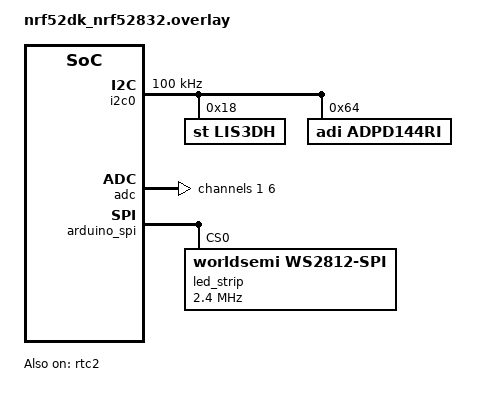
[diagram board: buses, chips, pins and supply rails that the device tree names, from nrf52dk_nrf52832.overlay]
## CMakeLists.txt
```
cmake_minimum_required(VERSION 3.20.0)
find_package(Zephyr REQUIRED HINTS $ENV{ZEPHYR_BASE})
project(Vitals_monitoring_system)

# Add src/ as an include directory so headers like ble.h are found
target_include_directories(app PRIVATE src)

# Add all your C source files
target_sources(app PRIVATE
    src/main.c
    src/ble.c
    src/adpd144ri.c
    src/rtc.c
    src/temp.c
    src/lis3dh.c
    src/ws2812.c
    src/button.c
    src/gpio.c
)
```

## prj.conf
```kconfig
# --- I2C ---
CONFIG_I2C=y
CONFIG_I2C_NRFX=y

# --- UART & Logging ---
CONFIG_SERIAL=y
CONFIG_UART_CONSOLE=y
CONFIG_PRINTK=y
CONFIG_LOG=y
CONFIG_LOG_MODE_IMMEDIATE=y

# --- BLE Peripheral ---
CONFIG_BT=y
CONFIG_BT_PERIPHERAL=y
CONFIG_BT_DEVICE_NAME="Vitals"
CONFIG_BT_DEVICE_APPEARANCE=833
CONFIG_BT_GATT_DYNAMIC_DB=y   # Required for dynamic GATT table

CONFIG_BT_CONN_PARAM_UPDATE_TIMEOUT=5000
CONFIG_BT_MAX_CONN=1

# Optimized buffer configuration for notifications
# Lower than defaults to save RAM but remain sufficient for throughput
CONFIG_BT_CONN_TX_MAX=12
CONFIG_BT_L2CAP_TX_MTU=247
CONFIG_BT_BUF_ACL_TX_SIZE=251
CONFIG_BT_BUF_ACL_TX_COUNT=10
CONFIG_BT_BUF_ACL_RX_SIZE=251
CONFIG_BT_BUF_ACL_RX_COUNT=6

CONFIG_BT_MAX_PAIRED=1

# Optional: Remove unnecessary GATT Client role
CONFIG_BT_GATT_CLIENT=n
CONFIG_BT_SMP=n

# --- Threads / Memory ---
CONFIG_MAIN_STACK_SIZE=2048
CONFIG_SYSTEM_WORKQUEUE_STACK_SIZE=2048
CONFIG_HEAP_MEM_POOL_SIZE=4096

# --- Time / POSIX ---
CONFIG_NEWLIB_LIBC=y
CONFIG_POSIX_API=y
CONFIG_CBPRINTF_FP_SUPPORT=y
CONFIG_NEWLIB_LIBC_FLOAT_PRINTF=y

# --- ADC Support ---
CONFIG_ADC=y
CONFIG_ADC_NRFX_SAADC=y

# --- Optional debugging helpers ---
CONFIG_THREAD_NAME=y
CONFIG_THREAD_MONITOR=y

# --- GPIO & Clock ---
CONFIG_GPIO=y
CONFIG_CLOCK_CONTROL_NRF_K32SRC_XTAL=y

# --- RTC / Counter ---
CONFIG_NRFX_RTC2=y
CONFIG_COUNTER=y
#CONFIG_COUNTER_RTC=y
CONFIG_RTC=y
CONFIG_RTC_ALARM=y


CONFIG_ADC=y

CONFIG_GPIO=y

CONFIG_LOG=y
CONFIG_PRINTK=y
CONFIG_LED_STRIP=y
CONFIG_LED_STRIP_LOG_LEVEL_DBG=y
CONFIG_ADC_NRFX_SAADC=y
CONFIG_FPU=y
CONFIG_CBPRINTF_FP_SUPPORT=y
CONFIG_NEWLIB_LIBC=y
CONFIG_MAIN_STACK_SIZE=2048

CONFIG_LOG_MODE_DEFERRED=y
CONFIG_SOC_NRF52832_ALLOW_SPIM_DESPITE_PAN_58=y




#CONFIG_LOG_DEFAULT_LEVEL=4   # INFO
```

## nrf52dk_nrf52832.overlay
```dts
/* --- I2C0 (TWIM0) --- */
&i2c0 {
    status = "okay";
    clock-frequency = <I2C_BITRATE_STANDARD>;
    pinctrl-0 = <&i2c0_default>;
    pinctrl-1 = <&i2c0_sleep>;
    pinctrl-names = "default", "sleep";

    lis3dh@18 {
        compatible = "st,lis3dh";
        reg = <0x18>;
        label = "LIS3DH";
        status = "okay";
    };

    adpd144ri@64 {
        compatible = "adi,adpd144ri";
        reg = <0x64>;
        label = "ADPD144RI";
        status = "okay";
    };
};



/* --- RTC2 --- */
&rtc2 {
    status = "okay";
};

/* --- SAADC --- */
&adc {
    status = "okay";

    /* Channel 1: Temperature on AIN2 */
    channel@1 {
        reg = <1 0 1>;
        zephyr,gain = "ADC_GAIN_1_4";
        zephyr,reference = "ADC_REF_VDD_1_4";
        zephyr,acquisition-time = <ADC_ACQ_TIME_DEFAULT>;
        zephyr,input-positive = <2>;
    };

    /* Channel 6: Battery on AIN6 */
    channel@6 {
        reg = <6 0 1>;
        zephyr,gain = "ADC_GAIN_1_6";
        zephyr,reference = "ADC_REF_INTERNAL";
        zephyr,acquisition-time = <ADC_ACQ_TIME_DEFAULT>;
        zephyr,input-positive = <6>;
    };
};


#include <zephyr/dt-bindings/led/led.h>

//#include "../nrf52-bindings.h"
&adc {
    status = "okay";
};

&arduino_spi { /* MOSI on D11 / P0.23 */
	compatible = "nordic,nrf-spim";
	led_strip: ws2812@0 {
		compatible = "worldsemi,ws2812-spi";

		/* SPI */
		reg = <0>; /* ignored, but necessary for SPI bindings */
		spi-max-frequency = <2400000>;

		/* WS2812 */
		chain-length = <1>; /* arbitrary; change at will */
		color-mapping = <LED_COLOR_ID_GREEN
				 LED_COLOR_ID_RED
				 LED_COLOR_ID_BLUE>;  
     		spi-one-frame = <0x60>;
		spi-zero-frame = <0x40>;
	};
};

/ {
    aliases {
        led0 = &led0;
        sw0 = &button0;
        led-strip = &led_strip;
    };
};
```

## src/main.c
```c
#include <zephyr/kernel.h>
#include <zephyr/device.h>
#include <zephyr/sys/printk.h>
#include <zephyr/bluetooth/bluetooth.h>
#include <string.h>
#include <stdio.h>
#include <zephyr/types.h>
#include <time.h>
#include "adpd144ri.h"
#include "rtc.h"
#include "ble.h"
#include "temp.h"
#include "lis3dh.h"
#include "ws2812.h"
#include "button.h"
#include "gpio.h"


/* Thread objects */
static struct k_thread sensor_tid_data;
static struct k_thread printer_tid_data;
static struct k_thread init_tid_data;

/* Thread stacks */
#define SENSOR_STACK_SIZE 1280
#define PRINTER_STACK_SIZE 2560
#define INIT_STACK_SIZE 512

K_THREAD_STACK_DEFINE(sensor_stack, SENSOR_STACK_SIZE);
K_THREAD_STACK_DEFINE(printer_stack, PRINTER_STACK_SIZE);
K_THREAD_STACK_DEFINE(init_stack, INIT_STACK_SIZE);

/* Thread priorities */
#define SENSOR_PRIO 10
#define PRINTER_PRIO 9
#define INIT_PRIO 5


#define I2C_NODE DT_NODELABEL(i2c0)

#define GPIO_PIN 16

#define BATCH_SIZE 6
#define MSGQ_SIZE 20

#define MAX_SAMPLES 1998

#define I2C_MUTEX_TIMEOUT  K_MSEC(15)  // Max wait time for I2C access

static uint16_t a_cnt=0, p_cnt=0;

K_MUTEX_DEFINE(i2c_bus_mutex);

K_MSGQ_DEFINE(ppg_msgq, sizeof(PPGSample), MSGQ_SIZE * 2, 4);
K_MSGQ_DEFINE(temp_msgq, sizeof(TempSample), MSGQ_SIZE, 4);
K_MSGQ_DEFINE(accel_msgq, sizeof(lis3dh_data_t), MSGQ_SIZE * 2, 4);

extern struct k_mutex notify_buf_mutex;
extern volatile bool notify_enabled_ppg;
extern volatile bool notify_enabled_temp;
extern volatile bool notify_enabled_accel;

extern struct bt_conn *current_conn;
extern const struct bt_gatt_service_static sensor_svc;
extern const struct bt_gatt_attr *ppg_char_attr;
extern const struct bt_gatt_attr *temp_char_attr;
extern const struct bt_gatt_attr *accel_char_attr;

static lis3dh_sensor_t lis3dh_dev;

extern struct k_work ble_disconnect_work;
extern void ble_disconnect_work_handler(struct k_work *work);

// Custom timegm() replacement (UTC time -> timestamp)
time_t custom_timegm(struct tm *tm) {
    static const int days_in_month[] = {
        31, 28, 31, 30, 31, 30,
        31, 31, 30, 31, 30, 31
    };

    int year = tm->tm_year + 1900;
    int month = tm->tm_mon;  // 0-11
    int day = tm->tm_mday;

    // Count leap years
    int y = year - (month < 2);
    int leap_days = y / 4 - y / 100 + y / 400;

    // Days since epoch
    int days = (year - 1970) * 365 + leap_days;
    for (int i = 0; i < month; i++) {
        days += days_in_month[i];
    }

    // Add one more day for leap year if after Feb
    if (month > 1 && ((year % 4 == 0 && year % 100 != 0) || (year % 400 == 0))) {
        days += 1;
    }

    days += day - 1;

    // Return seconds since epoch
    return days * 86400 + tm->tm_hour * 3600 + tm->tm_min * 60 + tm->tm_sec;
}

uint64_t parse_timestamp_ms(const char *timestamp_str) {
    struct tm t = {0};
    int ms = 0;

    // Parse: "dd/mm/yyyy hh:mm:ss.mmm"
    sscanf(timestamp_str, "%d/%d/%d %d:%d:%d.%d",
           &t.tm_mday, &t.tm_mon, &t.tm_year,
           &t.tm_hour, &t.tm_min, &t.tm_sec, &ms);

    t.tm_mon -= 1;
    t.tm_year -= 1900;

    time_t seconds = custom_timegm(&t);
    return ((uint64_t)seconds * 1000) + ms;
}


void sensor_thread(void *p1, void *p2, void *p3)
{
    const struct device *i2c_dev = DEVICE_DT_GET(I2C_NODE);

    printk("[THREAD] sensor_thread started\n");

    if (!device_is_ready(i2c_dev)) {
        printk("[I2C] device %s not ready!\n", i2c_dev->name);
        return;
    }

    /* sensor inits (same as before) */
    if (k_mutex_lock(&i2c_bus_mutex, I2C_MUTEX_TIMEOUT) == 0) {
        if (!lis3dh_init(&lis3dh_dev, i2c_dev, 0x18)) {
            printk("[LIS3DH] Accelerometer sensor init failed\n");
        }
        k_mutex_unlock(&i2c_bus_mutex);
    }
    if (k_mutex_lock(&i2c_bus_mutex, I2C_MUTEX_TIMEOUT) == 0) {
        if (adpd144ri_configure_spo2_hr(i2c_dev) != 0) {
            printk("[PPG] PPG Sensor init failed\n");
        }
        k_mutex_unlock(&i2c_bus_mutex);
    }
    if (k_mutex_lock(&i2c_bus_mutex, I2C_MUTEX_TIMEOUT) == 0) {
        if (!lis3dh_init(&lis3dh_dev, i2c_dev, 0x18)) {
            printk("[LIS3DH] Accelerometer re-init failed\n");
        }
        k_mutex_unlock(&i2c_bus_mutex);
    }
    if (temp_sensor_init() != 0) {
        printk("[TEMP] Temperature sensor initialization failed\n");
    }
  //  rtc2_init();

    PPGSample ppg_sample;
    lis3dh_data_t accel_sample;
    TempSample temp_sample;

    static uint32_t ppg_drops = 0, accel_drops = 0;
    uint64_t last_ppg = 0, last_accel = 0;

    /* Wait here until notify is enabled */
    while (!ack_notify_enabled) {
        k_msleep(50);   // Sleep a bit to avoid busy loop
    }

    /* Once enabled, send the ack */
    send_ack_to_mobile("2#0");

    while (1) {
        /* Wait until any notify is enabled (non-exiting) */
        while (!(notify_enabled_ppg || notify_enabled_accel || notify_enabled_temp)) {
            k_msleep(100);
        }
       

        /* Active collection loop: loop until TEMP triggers end-of-cycle */
        while (notify_enabled_ppg || notify_enabled_accel || notify_enabled_temp) {
            uint64_t now = k_uptime_get();

            /* PPG pacing: one read every ~10 ms (adjust if needed) */
            if (notify_enabled_ppg && (p_cnt < MAX_SAMPLES) && (now - last_ppg >= 10)) {
                last_ppg = now;
                if (k_mutex_lock(&i2c_bus_mutex, K_MSEC(3)) == 0) {
                    if (adpd144ri_read_2ch(i2c_dev, ppg_sample.channels) == 0) {
                        ppg_sample.timestamp_ms = get_timestamp_ms();
                        if (k_msgq_put(&ppg_msgq, &ppg_sample, K_NO_WAIT) != 0) {
                            ppg_drops++;
                            if ((ppg_drops & 0x3F) == 0) {
                                printk("[SENSOR] PPG drops=%u\n", ppg_drops);
                            }
                        } else {
                            p_cnt++;
                        }
                    }
                    k_mutex_unlock(&i2c_bus_mutex);
                }
            }

            k_msleep(7);

            /* ACCEL pacing: one read every ~20 ms (adjust if needed) */
            if (notify_enabled_accel && (a_cnt < MAX_SAMPLES) && (now - last_accel >= 10)) {
                last_accel = now;
                if (k_mutex_lock(&i2c_bus_mutex, K_MSEC(3)) == 0) {
                    if (lis3dh_read_data(&lis3dh_dev, accel_sample.data)) {
                        accel_sample.timestamp_ms = get_timestamp_ms();
                        if (k_msgq_put(&accel_msgq, &accel_sample, K_NO_WAIT) != 0) {
                            accel_drops++;
                            if ((accel_drops & 0x3F) == 0) {
                                printk("[SENSOR] ACCEL drops=%u\n", accel_drops);
                            }
                        } else {
                            a_cnt++;
                        }
                    }
                    k_mutex_unlock(&i2c_bus_mutex);
                }
            }

            k_msleep(7);

            /* TEMP end-of-cycle trigger (unchanged) */
            if (notify_enabled_temp && p_cnt >= MAX_SAMPLES && a_cnt >= MAX_SAMPLES) {
                k_msleep(10);
                if (temp_sensor_read(&temp_sample) == 0) {
                    temp_sample.timestamp_ms = get_timestamp_ms();
                    if (k_msgq_put(&temp_msgq, &temp_sample, K_MSEC(3)) != 0) {
                        printk("[SENSOR] TEMP msgq put failed\n");
                    }
                } else {
                    printk("[SENSOR] TEMP read failed\n");
                }
                printk("[SENSOR] Collected FULL batch: PPG=%u, ACCEL=%u\n", p_cnt, a_cnt);
                break; /* let formatter handle sending/reset */
            }

            /* light backoff so other threads (formatter, BLE) run */
            k_msleep(40);
        } /* inner active loop */
    } /* outer forever */
}

void printer_thread(void *p1, void *p2, void *p3)
{
    printk("[THREAD] printer_thread started\n");

    PPGSample ppg_batch[BATCH_SIZE];
    lis3dh_data_t accel_batch[BATCH_SIZE];
    TempSample temp_sample;
    char ts[64];

    int total_ppg_sent = 0;
    int total_accel_sent = 0;
    bool temp_sent = false;

    bool p_flag=false;
    bool a_flag=false;

    while (1) {
        /* wait until any notify enabled */
        while (!(notify_enabled_ppg || notify_enabled_accel || notify_enabled_temp)) {
            k_msleep(50);
        }

        int ppg_count = 0, accel_count = 0, temp_count = 0;

        /* collect exactly BATCH_SIZE items for each stream if available */
        if (notify_enabled_ppg && k_msgq_num_used_get(&ppg_msgq) >= BATCH_SIZE) {
            for (int i = 0; i < BATCH_SIZE; i++) {
                if (k_msgq_get(&ppg_msgq, &ppg_batch[i], K_NO_WAIT) != 0) {
                    ppg_count = i;
                    break;
                }
            }
            if (ppg_count == 0) ppg_count = BATCH_SIZE;
            total_ppg_sent += ppg_count;
        }

        if (notify_enabled_accel && k_msgq_num_used_get(&accel_msgq) >= BATCH_SIZE) {
            for (int i = 0; i < BATCH_SIZE; i++) {
                if (k_msgq_get(&accel_msgq, &accel_batch[i], K_NO_WAIT) != 0) {
                    accel_count = i;
                    break;
                }
            }
            if (accel_count == 0) accel_count = BATCH_SIZE;
            total_accel_sent += accel_count;
        }

        /* TEMP: only when both streams have reached MAX_SAMPLES */
        if (notify_enabled_temp && !temp_sent &&
            total_ppg_sent >= MAX_SAMPLES && total_accel_sent >= MAX_SAMPLES &&
            k_msgq_num_used_get(&temp_msgq) >= 1) {
            k_msleep(20);
            if (k_msgq_get(&temp_msgq, &temp_sample, K_NO_WAIT) == 0) {
                temp_count = 1;
                temp_sent = true;
            }
        }

        /* nothing to do: small sleep */
        if (ppg_count == 0 && accel_count == 0 && temp_count == 0) {
            k_msleep(2);
            continue;
        } 

        /* build formatted strings (all heavy ops here) */
        k_mutex_lock(&notify_buf_mutex, K_FOREVER);

        if (ppg_count > 0) {
            int pos = 0, len = SENSOR_NOTIFY_BUF_SIZE;
            if(!p_flag){
                 pos += snprintf(sensor_notify_buf_ppg + pos, len - pos,
                    "PPG_BATCH:%d", patient_id);
            }
            for (int i = 0; i < ppg_count; i++) {
             //   format_timestamp(ppg_batch[i].timestamp_ms, ts, sizeof(ts));
               // uint64_t ts_ms = parse_timestamp_ms(ts);
                pos += snprintk(sensor_notify_buf_ppg + pos, len - pos,
                                "#%llu,%lx,%lx",
                                (unsigned long long)ppg_batch[i].timestamp_ms,
                                (unsigned long)ppg_batch[i].channels[0],
                                (unsigned long)ppg_batch[i].channels[1]);
                    
                    p_flag=true;
                if (pos >= len - 64) break;
            }
            sensor_notify_buf_ppg[len - 1] = '\0';
        }

        if (accel_count > 0) {
            int pos = 0, len = SENSOR_NOTIFY_BUF_SIZE;
             if(!a_flag){
                    pos += snprintf(sensor_notify_buf_accel + pos, len - pos, "ACCEL_BATCH:%d",patient_id);
            }
            for (int i = 0; i < accel_count; i++) {
            //    format_timestamp(accel_batch[i].timestamp_ms, ts, sizeof(ts));
              //  uint64_t ts_ms = parse_timestamp_ms(ts);
                pos += snprintk(sensor_notify_buf_accel + pos, len - pos,
                                "#%llu,%d,%d,%d",
                                (unsigned long long)accel_batch[i].timestamp_ms,
                                accel_batch[i].data[0],
                                accel_batch[i].data[1],
                                accel_batch[i].data[2]);

                        a_flag=true;
                if (pos >= len - 64) break;
            }
            sensor_notify_buf_accel[len - 1] = '\0';
        }

        if (temp_count > 0) {
            int pos = 0, len = SENSOR_NOTIFY_BUF_SIZE;
            pos += snprintf(sensor_notify_buf_temp + pos, len - pos, "TEMP_BATCH:");
          //  format_timestamp(temp_sample.timestamp_ms, ts, sizeof(ts));
          //  uint64_t ts_ms = parse_timestamp_ms(ts);
            pos += snprintk(sensor_notify_buf_temp + pos, len - pos,
                            "%d#%llu,%d,%d",patient_id,
                            (unsigned long long)temp_sample.timestamp_ms,
                            temp_sample.temperature_c, (int)temp_sample.battery_pct);
            sensor_notify_buf_temp[len - 1] = '\0';
        }

        k_mutex_unlock(&notify_buf_mutex);

        if (current_conn) {
            if (ppg_count > 0) bt_gatt_notify(current_conn, ppg_char_attr, sensor_notify_buf_ppg, strlen(sensor_notify_buf_ppg));
            if (accel_count > 0) bt_gatt_notify(current_conn, accel_char_attr, sensor_notify_buf_accel, strlen(sensor_notify_buf_accel));
            if (temp_count > 0) bt_gatt_notify(current_conn, temp_char_attr, sensor_notify_buf_temp, strlen(sensor_notify_buf_temp));
        }

        /* full-cycle handling: reset counters + safe RTC sleep */
        if (temp_sent) {
            printk("[THREAD] Full data cycle sent. Preparing sleep...\n");
            send_ack_to_mobile("1#0");

            total_ppg_sent = 0;
            total_accel_sent = 0;
            temp_sent = false;

            p_cnt = 0;
            a_cnt = 0;

            p_flag = false;
            a_flag = false;
          

            rtc2_set_alarm(50000); // 50s

            /* Safe non-blocking wait: check alarm flag periodically,
               use SEV/WFE to avoid missed wakeups. */
            while (!rtc2_alarm_triggered()) {
                __SEV();  /* ensure there is a pending event to wake WFE */
                __WFE();
                /* still loop checking alarm flag; this keeps other threads runnable */
            }
            printk("[THREAD] Woke up, starting new cycle.\n");
            send_ack_to_mobile("2#0");
        }
    } /* while */
}


#define INIT_THREAD_STACK 512
#define INIT_THREAD_PRIO   5  // Lower than sensor_thread (10)

// Thread function for LED/Button/GPIO init
void init_thread(void *p1, void *p2, void *p3)
{
    printk("[INIT] Initialization thread started\n");

    // GPIO high
    gpio_high();

    // WS2812 init
    ws2812_init();
    k_msleep(15);
    ws2812_set_color(&GREEN);

    // Button init
    if (button_init() != 0) {
        printk("[INIT] Button init failed\n");
    }

    printk("[INIT] LED, Button, GPIO init done\n");

    // Thread can now terminate
}

// Create the thread
//K_THREAD_DEFINE(init_tid, INIT_THREAD_STACK, init_thread, NULL, NULL, NULL, INIT_THREAD_PRIO, 0, 0);



int main(void)
{
    printk("\n********* BOOTING ADPD144RI BLE SENSOR DEMO *********\n");  

    k_mutex_init(&notify_buf_mutex);

    memset(sensor_notify_buf_ppg, 0, sizeof(sensor_notify_buf_ppg));
    memset(sensor_notify_buf_temp, 0, sizeof(sensor_notify_buf_temp));
    memset(sensor_notify_buf_accel, 0, sizeof(sensor_notify_buf_accel));

    int err = bt_enable(bt_ready);
    printk("[MAIN] Called bt_enable(), returned %d\n", err);
    if (err) {
        printk("[BLE] Bluetooth init failed (err %d)\n", err);
    }

    k_work_init(&ble_disconnect_work, ble_disconnect_work_handler);

    /* --- Create threads dynamically --- */
    k_thread_create(&sensor_tid_data, sensor_stack, SENSOR_STACK_SIZE,
                sensor_thread, NULL, NULL, NULL,
                SENSOR_PRIO, 0, K_NO_WAIT);

    k_thread_create(&printer_tid_data, printer_stack, PRINTER_STACK_SIZE,
                printer_thread, NULL, NULL, NULL,
                PRINTER_PRIO, 0, K_NO_WAIT);
    

    k_thread_create(&init_tid_data, init_stack, INIT_STACK_SIZE,
                    init_thread, NULL, NULL, NULL,
                    INIT_PRIO, 0, K_NO_WAIT);

    while (1) {
        k_msleep(1000);
    }

    return 0;
}
```

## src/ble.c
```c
#include <zephyr/kernel.h>
#include <zephyr/sys/printk.h>
#include <zephyr/bluetooth/bluetooth.h>
#include <zephyr/bluetooth/gatt.h>
#include <zephyr/bluetooth/uuid.h>
#include <zephyr/logging/log.h>
#include <string.h>
#include "ble.h"
#include "ws2812.h"


uint16_t patient_id;
/* Backing storage for ACK characteristic */
uint8_t ack_value[10];  
static struct bt_gatt_attr *ack_attr_ref;

/* Read callback */
static ssize_t read_ack(struct bt_conn *conn,
                        const struct bt_gatt_attr *attr,
                        void *buf, uint16_t len, uint16_t offset)
{
    const char *value = (const char *)ack_value;
    return bt_gatt_attr_read(conn, attr, buf, len, offset, value, strlen(value));
}

/* Write callback (from mobile side) */
static ssize_t write_ack(struct bt_conn *conn,
                         const struct bt_gatt_attr *attr,
                         const void *buf, uint16_t len,
                         uint16_t offset, uint8_t flags)
{
    if (len >= sizeof(ack_value)) {
        return BT_GATT_ERR(BT_ATT_ERR_INVALID_ATTRIBUTE_LEN);
    }

    memset(ack_value, 0, sizeof(ack_value));
    memcpy(ack_value, buf, len);

    printk("ACK updated from mobile: %s\n", ack_value);

    return len;
}

/* --- Patient ID Characteristic --- */
ssize_t write_patient_id(struct bt_conn *conn,
                         const struct bt_gatt_attr *attr,
                         const void *buf, uint16_t len,
                         uint16_t offset, uint8_t flags)
{
    if (len == 2) {
        memcpy(&patient_id, buf, sizeof(patient_id));
        printk("Patient ID received: %u\n", patient_id);
    }
    return len;
}

uint32_t UNIX_TIME_START = 0;

ssize_t write_timestamp(struct bt_conn *conn,
                        const struct bt_gatt_attr *attr,
                        const void *buf, uint16_t len,
                        uint16_t offset, uint8_t flags)
{
    if (len == 4) {
        uint32_t unix_time =
              ((uint32_t)((uint8_t*)buf)[0]) |
              ((uint32_t)((uint8_t*)buf)[1] << 8) |
              ((uint32_t)((uint8_t*)buf)[2] << 16) |
              ((uint32_t)((uint8_t*)buf)[3] << 24);

        printk("Received UNIX time: %u (s)\n", unix_time);

        rtc2_init(unix_time);  

        uint64_t now = get_timestamp_ms();
        printk("Full timestamp (ms): %llu\n", (uint64_t)now);

        char buf_time[32];
        format_timestamp(now, buf_time, sizeof(buf_time));
        printk("Formatted time: %s\n", buf_time);
    }
    return len;
}




char sensor_notify_buf_ppg[SENSOR_NOTIFY_BUF_SIZE];
char sensor_notify_buf_temp[SENSOR_NOTIFY_BUF_SIZE];
char sensor_notify_buf_accel[SENSOR_NOTIFY_BUF_SIZE];

struct bt_conn *current_conn = NULL;
volatile bool notify_enabled_ppg = false;
volatile bool notify_enabled_temp = false;
volatile bool notify_enabled_accel = false;
volatile bool ack_notify_enabled = false;

struct k_mutex notify_buf_mutex;


/* ---------- UUIDs ---------- */
/* One Service UUID */
static struct bt_uuid_128 vitals_service_uuid = BT_UUID_INIT_128(
    0xac, 0xdf, 0xd2, 0x00, 0x4b, 0xd6, 0x69, 0xac,
    0x97, 0x42, 0x94, 0x26, 0x3e, 0x24, 0x9e, 0xf6);

/* Three Characteristic UUIDs */
static struct bt_uuid_128 ppg_char_uuid = BT_UUID_INIT_128(
    0xb7, 0x5c, 0xb4, 0x7b, 0xb8, 0x27, 0x5a, 0xa1,
    0x20, 0x44, 0x4b, 0x9c, 0xd4, 0x4a, 0x95, 0x4c);

static struct bt_uuid_128 temp_char_uuid = BT_UUID_INIT_128(
    0xd2, 0xf8, 0x67, 0x5a, 0xce, 0x5a, 0x64, 0x86,
    0xfe, 0x43, 0xf6, 0x7a, 0x90, 0x67, 0xf6, 0x66);

static struct bt_uuid_128 accel_char_uuid = BT_UUID_INIT_128(
    0x98, 0x65, 0x12, 0xa1, 0xd8, 0x03, 0xb3, 0x93,
    0x42, 0xf1, 0x61, 0x43, 0x96, 0x21, 0xf5, 0x0a);

/* -------- Custom Service UUID -------- */
static struct bt_uuid_128 input_service_uuid =
    BT_UUID_INIT_128(0xf0, 0xde, 0xbc, 0x9a, 0x78, 0x56, 0x34, 0x12,
                     0x34, 0x12, 0x78, 0x56, 0x34, 0x12, 0x56, 0x12);

/* -------- ACK Characteristic UUID -------- */
static struct bt_uuid_128 ack_char_uuid =
    BT_UUID_INIT_128(0xf1, 0xde, 0xbc, 0x9a, 0x78, 0x56, 0x34, 0x12,
                     0x34, 0x12, 0x78, 0x56, 0x34, 0x12, 0x56, 0x12);

/* -------- Patient ID Characteristic UUID -------- */
static struct bt_uuid_128 patient_id_char_uuid =
    BT_UUID_INIT_128(0xf2, 0xde, 0xbc, 0x9a, 0x78, 0x56, 0x34, 0x12,
                     0x34, 0x12, 0x78, 0x56, 0x34, 0x12, 0x56, 0x12);

/* -------- Timestamp Characteristic UUID -------- */
static struct bt_uuid_128 timestamp_char_uuid =
    BT_UUID_INIT_128(0xf3, 0xde, 0xbc, 0x9a, 0x78, 0x56, 0x34, 0x12,
                     0x34, 0x12, 0x78, 0x56, 0x34, 0x12, 0x56, 0x12);



const struct bt_gatt_attr *ppg_char_attr = NULL;
const struct bt_gatt_attr *temp_char_attr = NULL;
const struct bt_gatt_attr *accel_char_attr = NULL;

/* ---------- Read Callbacks ---------- */
static ssize_t read_ppg(struct bt_conn *conn, const struct bt_gatt_attr *attr,
                        void *buf, uint16_t len, uint16_t offset)
{
    ssize_t ret;
    k_mutex_lock(&notify_buf_mutex, K_FOREVER);
    ret = bt_gatt_attr_read(conn, attr, buf, len, offset,
                            sensor_notify_buf_ppg, strlen(sensor_notify_buf_ppg));
    k_mutex_unlock(&notify_buf_mutex);
    return ret;
}

static ssize_t read_temp(struct bt_conn *conn, const struct bt_gatt_attr *attr,
                         void *buf, uint16_t len, uint16_t offset)
{
    ssize_t ret;
    k_mutex_lock(&notify_buf_mutex, K_FOREVER);
    ret = bt_gatt_attr_read(conn, attr, buf, len, offset,
                            sensor_notify_buf_temp, strlen(sensor_notify_buf_temp));
    k_mutex_unlock(&notify_buf_mutex);
    return ret;
}

static ssize_t read_accel(struct bt_conn *conn, const struct bt_gatt_attr *attr,
                          void *buf, uint16_t len, uint16_t offset)
{
    ssize_t ret;
    k_mutex_lock(&notify_buf_mutex, K_FOREVER);
    ret = bt_gatt_attr_read(conn, attr, buf, len, offset,
                            sensor_notify_buf_accel, strlen(sensor_notify_buf_accel));
    k_mutex_unlock(&notify_buf_mutex);
    return ret;
}

/* ---------- CCCD Callbacks ---------- */
static void ccc_cfg_changed_ppg(const struct bt_gatt_attr *attr, uint16_t value)
{
    notify_enabled_ppg = (value == BT_GATT_CCC_NOTIFY);
}

static void ccc_cfg_changed_temp(const struct bt_gatt_attr *attr, uint16_t value)
{
    notify_enabled_temp = (value == BT_GATT_CCC_NOTIFY);
}

static void ccc_cfg_changed_accel(const struct bt_gatt_attr *attr, uint16_t value)
{
    notify_enabled_accel = (value == BT_GATT_CCC_NOTIFY);
}

static void ack_ccc_cfg_changed(const struct bt_gatt_attr *attr, uint16_t value)
{
    ack_notify_enabled = (value == BT_GATT_CCC_NOTIFY);
}

/* ---------- Single Service with 3 Characteristics ---------- */
BT_GATT_SERVICE_DEFINE(vitals_svc,
    BT_GATT_PRIMARY_SERVICE(&vitals_service_uuid),

    /* PPG Characteristic */
    BT_GATT_CHARACTERISTIC(&ppg_char_uuid.uuid,
                           BT_GATT_CHRC_READ | BT_GATT_CHRC_NOTIFY,
                           BT_GATT_PERM_READ,
                           read_ppg, NULL, NULL),
    BT_GATT_CCC(ccc_cfg_changed_ppg,
                BT_GATT_PERM_READ | BT_GATT_PERM_WRITE),

     /* Accel Characteristic */
    BT_GATT_CHARACTERISTIC(&accel_char_uuid.uuid,
                           BT_GATT_CHRC_READ | BT_GATT_CHRC_NOTIFY,
                           BT_GATT_PERM_READ,
                           read_accel, NULL, NULL),
    BT_GATT_CCC(ccc_cfg_changed_accel,
                BT_GATT_PERM_READ | BT_GATT_PERM_WRITE),

    /* Temp Characteristic */
    BT_GATT_CHARACTERISTIC(&temp_char_uuid.uuid,
                           BT_GATT_CHRC_READ | BT_GATT_CHRC_NOTIFY,
                           BT_GATT_PERM_READ,
                           read_temp, NULL, NULL),
    BT_GATT_CCC(ccc_cfg_changed_temp,
                BT_GATT_PERM_READ | BT_GATT_PERM_WRITE) 
);

BT_GATT_SERVICE_DEFINE(input_svc,
    BT_GATT_PRIMARY_SERVICE(&input_service_uuid),

    /* ACK Characteristic */
    BT_GATT_CHARACTERISTIC(&ack_char_uuid.uuid,
                           BT_GATT_CHRC_READ | BT_GATT_CHRC_WRITE | BT_GATT_CHRC_NOTIFY,
                           BT_GATT_PERM_READ | BT_GATT_PERM_WRITE,
                           read_ack, write_ack, &ack_value),
    BT_GATT_CCC(ack_ccc_cfg_changed,
                BT_GATT_PERM_READ | BT_GATT_PERM_WRITE),

    /* Patient ID Characteristic */
    BT_GATT_CHARACTERISTIC(&patient_id_char_uuid.uuid,
                           BT_GATT_CHRC_WRITE,
                           BT_GATT_PERM_WRITE,
                           NULL, write_patient_id, NULL),

    /* Timestamp Characteristic */
    BT_GATT_CHARACTERISTIC(&timestamp_char_uuid.uuid,
                           BT_GATT_CHRC_WRITE,
                           BT_GATT_PERM_WRITE,
                           NULL, write_timestamp, NULL)
);


/* Assign characteristic pointers */
static void assign_attr_pointers(void)
{
    ppg_char_attr   = &vitals_svc.attrs[2];
    accel_char_attr = &vitals_svc.attrs[5]; 
    temp_char_attr  = &vitals_svc.attrs[8];
}

static const struct bt_le_adv_param *adv_param = BT_LE_ADV_PARAM(
    (BT_LE_ADV_OPT_CONNECTABLE | BT_LE_ADV_OPT_USE_IDENTITY), 78, 78, NULL);

const struct bt_data ad[] = {
    BT_DATA_BYTES(BT_DATA_FLAGS, (BT_LE_AD_GENERAL | BT_LE_AD_NO_BREDR)),
    BT_DATA(BT_DATA_NAME_COMPLETE, "Vitals", 6),
    BT_DATA_BYTES(BT_DATA_UUID128_ALL,
                  0xac, 0xdf, 0xd2, 0x00, 0x4b, 0xd6, 0x69, 0xac,
                  0x97, 0x42, 0x94, 0x26, 0x3e, 0x24, 0x9e, 0xf6)
};

/* ---------- BLE Helpers ---------- */
void print_ble_address(void)
{
    bt_addr_le_t addr;
    size_t count = 1;
    bt_id_get(&addr, &count);
    char buf[BT_ADDR_LE_STR_LEN];
    bt_addr_le_to_str(&addr, buf, sizeof(buf));
    printk("[BLE] Device BT Address: %s\n", buf);
}

void connected(struct bt_conn *conn, uint8_t err)
{
    if (err) {
        printk("[BLE] Connection failed (err %u)\n", err);
        return;
    }
    current_conn = bt_conn_ref(conn);
    printk("[BLE] Device Connected\n");
     ws2812_set_color(&BLUE);
       k_timer_stop(&ble_disconnect_timer);
}

void disconnected(struct bt_conn *conn, uint8_t reason)
{
    printk("[BLE] Disconnected (reason 0x%02x)\n", reason);
    ws2812_set_color(&GREEN);
    if (current_conn) {
        bt_conn_unref(current_conn);
        current_conn = NULL;
    }
    notify_enabled_ppg = false;
    notify_enabled_temp = false;
    notify_enabled_accel = false;
}

BT_CONN_CB_DEFINE(conn_callbacks) = {
    .connected = connected,
    .disconnected = disconnected,
};


LOG_MODULE_REGISTER(ble_module, LOG_LEVEL_INF);

struct k_work ble_disconnect_work;

void ble_disconnect_work_handler(struct k_work *work)
{
    LOG_INF("No connection for 3 minutes. Powering off.");
    
    ws2812_blink_violet();
}

void ble_disconnect_timeout(struct k_timer *dummy)
{
    // Schedule the work instead of doing it in timer context
    k_work_submit(&ble_disconnect_work);
}


void bt_ready(int err)
{
    printk("[MAIN] bt_ready callback, err=%d\n", err);
    if (err) {
        printk("[BLE] Bluetooth init failed (err %d)\n", err);
        return;
    }
    printk("[BLE] Bluetooth initialized\n");
    print_ble_address();

    assign_attr_pointers();

    int ret = bt_le_adv_start(adv_param, ad, ARRAY_SIZE(ad), NULL, 0);
    if (ret) {
        printk("[BLE] Advertising failed to start (err %d)\n", ret);
    } else {
        printk("[BLE] Advertising started successfully!\n");
          k_timer_init(&ble_disconnect_timer, ble_disconnect_timeout, NULL);
        k_timer_start(&ble_disconnect_timer, K_MSEC(BLE_TIMEOUT_MS), K_NO_WAIT);
    }
}

void send_ack_to_mobile(const char *ack_msg)
{
    // Copy the message to the backing buffer
    strncpy(ack_value, ack_msg, sizeof(ack_value) - 1);
    ack_value[sizeof(ack_value) - 1] = '\0';

    // Send notification only if ACK notify is enabled and connection exists
    if (ack_notify_enabled && current_conn) {
        bt_gatt_notify(current_conn, &input_svc.attrs[1], ack_value, strlen(ack_value));
        printk("ACK sent to mobile: %s\n", ack_value);
    }
}
```

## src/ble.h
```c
#ifndef BLE_H_
#define BLE_H_

#include <zephyr/bluetooth/gatt.h>
#include <zephyr/kernel.h>
#include <stdbool.h>


#define SENSOR_NOTIFY_BUF_SIZE 4096

#include <zephyr/bluetooth/bluetooth.h>

#define BLE_TIMEOUT_MS 180000  // 3 minutes

static struct k_timer ble_disconnect_timer;

// Notification buffers for each sensor
extern char sensor_notify_buf_ppg[SENSOR_NOTIFY_BUF_SIZE];
extern char sensor_notify_buf_temp[SENSOR_NOTIFY_BUF_SIZE];
extern char sensor_notify_buf_accel[SENSOR_NOTIFY_BUF_SIZE];

// GATT service static struct
extern const struct bt_gatt_service_static ppg_svc;
extern const struct bt_gatt_service_static temp_svc;
extern const struct bt_gatt_service_static accel_svc;

// Attribute pointers to characteristic values for notifications
extern const struct bt_gatt_attr *ppg_char_attr;
extern const struct bt_gatt_attr *temp_char_attr;
extern const struct bt_gatt_attr *accel_char_attr;

// BLE connection object
extern struct bt_conn *current_conn;

// Per-characteristic notification enabled flags
extern volatile bool notify_enabled_ppg;
extern volatile bool notify_enabled_temp;
extern volatile bool notify_enabled_accel;
extern volatile bool ack_notify_enabled;

// Mutex protecting notification buffers
extern struct k_mutex notify_buf_mutex;

// BLE function callbacks
void bt_ready(int err);
void connected(struct bt_conn *conn, uint8_t err);
void disconnected(struct bt_conn *conn, uint8_t reason);
//void ble_disconnect_timeout(struct k_timer *dummy);

extern uint8_t ack_value[10];
extern uint16_t patient_id;
extern uint32_t timestamp_s;

void send_ack_to_mobile(const char *ack_msg);
#endif 
```

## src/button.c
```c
#include "button.h"
#include "ws2812.h"
#include <zephyr/logging/log.h>
#include <zephyr/kernel.h>

LOG_MODULE_REGISTER(button_driver, LOG_LEVEL_INF);

#define SW0_NODE DT_ALIAS(sw0)
static const struct gpio_dt_spec button = GPIO_DT_SPEC_GET(SW0_NODE, gpios);
static struct gpio_callback button_cb_data;

/* Button state */
static int64_t press_start_time = 0;
static int64_t last_interrupt_time = 0;
static bool single_pending = false;

/* Timers & work */
static struct k_timer single_press_timer;
static struct k_work button_work;
static struct k_work_delayable led_off_work;

static button_event_t pending_event = BUTTON_EVENT_NONE;

/* ------------------ LED OFF work ------------------ */
void led_off_handler(struct k_work *work) {
    ws2812_set_color(&OFF);
}

/* ------------------ Button ISR ------------------ */
static void button_isr(const struct device *dev,
                       struct gpio_callback *cb,
                       uint32_t pins)
{
    int64_t now = k_uptime_get();

    /* Debounce */
    if (now - last_interrupt_time < DEBOUNCE_MS) return;
    last_interrupt_time = now;

    if (gpio_pin_get_dt(&button)) {
        /* Button pressed */
        press_start_time = now;
    } else {
        /* Button released */
        int64_t press_duration = now - press_start_time;

        if (press_duration >= LONG_PRESS_MS) {
            k_timer_stop(&single_press_timer);
            single_pending = false;
            pending_event = BUTTON_EVENT_LONG_PRESS;
            k_work_submit(&button_work);
        } else {
            if (single_pending) {
                k_timer_stop(&single_press_timer);
                single_pending = false;
                pending_event = BUTTON_EVENT_DOUBLE_PRESS;
                k_work_submit(&button_work);
            } else {
                single_pending = true;
                k_timer_start(&single_press_timer, K_MSEC(DOUBLE_PRESS_GAP), K_NO_WAIT);
            }
        }
    }
}

/* Timer expiry → single press */
static void single_press_timeout(struct k_timer *timer_id) {
    if (single_pending) {
        single_pending = false;
        pending_event = BUTTON_EVENT_SINGLE_PRESS;
        k_work_submit(&button_work);
    }
}

/* Work handler → safe to update LEDs here */
static void button_work_handler(struct k_work *work) {
    switch (pending_event) {
        case BUTTON_EVENT_SINGLE_PRESS:
            LOG_INF("Single press → LED GREEN");
            k_work_cancel_delayable(&led_off_work);
            ws2812_set_color(&GREEN);
            k_work_schedule(&led_off_work, K_MINUTES(1));
            break;

        case BUTTON_EVENT_DOUBLE_PRESS:
            LOG_INF("Double press → Blink BLUE");
            k_work_cancel_delayable(&led_off_work);
            ws2812_blink_blue();  // now non-blocking
            break;

        case BUTTON_EVENT_LONG_PRESS:
            LOG_INF("Long press → LED OFF");
            k_work_cancel_delayable(&led_off_work);
            ws2812_set_color(&OFF);
            break;

        default:
            break;
    }
    pending_event = BUTTON_EVENT_NONE;
}

/* ------------------ Initialization ------------------ */
int button_init(void) {
    if (!device_is_ready(button.port)) {
        LOG_ERR("Button not ready");
        return -ENODEV;
    }

    gpio_pin_configure_dt(&button, GPIO_INPUT);
    gpio_pin_interrupt_configure_dt(&button, GPIO_INT_EDGE_BOTH);

    gpio_init_callback(&button_cb_data, button_isr, BIT(button.pin));
    gpio_add_callback(button.port, &button_cb_data);

    k_timer_init(&single_press_timer, single_press_timeout, NULL);
    k_work_init(&button_work, button_work_handler);
    k_work_init_delayable(&led_off_work, led_off_handler);

    LOG_INF("Button initialized");
    return 0;
}
```

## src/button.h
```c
#ifndef BUTTON_H
#define BUTTON_H

#include <zephyr/kernel.h>
#include <zephyr/device.h>
#include <zephyr/drivers/gpio.h>

#define LONG_PRESS_MS     1000   /* 1 second long press */
#define DOUBLE_PRESS_GAP  500    /* Max gap (ms) for double press */
#define DEBOUNCE_MS       50     /* Debounce time */

typedef enum {
    BUTTON_EVENT_NONE = 0,
    BUTTON_EVENT_SINGLE_PRESS,
    BUTTON_EVENT_DOUBLE_PRESS,
    BUTTON_EVENT_LONG_PRESS
} button_event_t;

int button_init(void);

#endif /* BUTTON_H */
```

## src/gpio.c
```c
#include <zephyr/kernel.h>
#include <zephyr/device.h>
#include <zephyr/drivers/gpio.h>

#include "gpio.h"

const struct device *gpio0_dev = DEVICE_DT_GET(DT_NODELABEL(gpio0));

void gpio_high(void)
{
      if (!device_is_ready(gpio0_dev)) {
        printk("Error: GPIO device not ready\n");
        return;
    }

    // Configure pin as output and set high
    int x=gpio_pin_configure(gpio0_dev, GPIO_PIN, GPIO_OUTPUT_ACTIVE);

    if(!x){printk("GPIO 16 set HIGH\n");}
    else{printk("gpio fail\n");}
} 
```

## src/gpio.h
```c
#pragma once
#include <zephyr/device.h>
#include <zephyr/drivers/gpio.h>

#define GPIO_PIN 16
#define GPIO0_NODE DT_NODELABEL(gpio0)
extern const struct device *gpio0_dev;

void gpio_high(void);
```

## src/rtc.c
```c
#include <zephyr/kernel.h>
#include <zephyr/sys/printk.h>
#include <zephyr/irq.h>       
#include <time.h>
#include <stdio.h>
#include "rtc.h"

//#define UNIX_TIME_START 1718000000UL
#define LFCLK_FREQ      32768UL
#define RTC2_PRESCALER  0
#define RTC_TICKS_PER_SEC (LFCLK_FREQ / (RTC2_PRESCALER + 1))

static volatile bool rtc2_alarm_fired = false;

/* Direct IRQ handler registration */
void RTC2_IRQHandler(void)
{
    if (NRF_RTC2->EVENTS_COMPARE[0]) {
        NRF_RTC2->EVENTS_COMPARE[0] = 0;
        rtc2_alarm_fired = true;
        __SEV(); // Wake CPU from WFE
    }
}

static uint32_t unix_base = 0;   // UNIX time in seconds, set from BLE

void rtc2_init(uint32_t unix_time) {
    unix_base = unix_time;

    printk("[RTC2] Initializing RTC2...\n");

    NRF_CLOCK->LFCLKSRC = CLOCK_LFCLKSRC_SRC_Xtal;
    NRF_CLOCK->EVENTS_LFCLKSTARTED = 0;
    NRF_CLOCK->TASKS_LFCLKSTART = 1;
    while (!NRF_CLOCK->EVENTS_LFCLKSTARTED) {}

    NRF_RTC2->TASKS_STOP = 1;
    NRF_RTC2->PRESCALER = RTC2_PRESCALER;
    NRF_RTC2->TASKS_CLEAR = 1;
    NRF_RTC2->TASKS_START = 1;

    printk("[RTC2] RTC2 running (prescaler=%d, unix start=%u).\n",
           RTC2_PRESCALER, unix_time);
}



/*This function returns the current timestamp in milliseconds based on the number of ticks from the RTC2 hardware counter.

It calculates the elapsed time since a defined starting point (UNIX_TIME_START) and adds the milliseconds computed from the counter ticks.*/
uint64_t get_timestamp_ms(void) {
    uint32_t ticks = NRF_RTC2->COUNTER;
    uint64_t elapsed_ms = ((uint64_t)ticks * 1000UL) / RTC_TICKS_PER_SEC;
    printk("\n---------------%llu------------------",((uint64_t)unix_base * 1000ULL) + elapsed_ms);
    return ((uint64_t)unix_base * 1000ULL) + elapsed_ms;
}



/* This function converts a timestamp into a human-readable format (dd/mm/yyyy  hr:min:sec:ms) */
void format_timestamp(uint64_t timestamp_ms, char *buffer, size_t size) {
    time_t sec = timestamp_ms / 1000;       // Convert milliseconds to seconds (standard Unix timestamp format)
    uint16_t ms = timestamp_ms % 1000;      // Extract the milliseconds part (remainder after dividing by 1000)
    struct tm t;                            // Structure to hold broken-down time (year, month, day, hour, etc.)
    gmtime_r(&sec, &t);                     // Convert 'sec' into UTC time represented in 'struct tm' (thread-safe version)

    // Format the date & time into the buffer as: dd/mm/yyyy hh:mm:ss.mmm
    snprintf(buffer, size, "%02d/%02d/%04d %02d:%02d:%02d.%03d",
        t.tm_mday, t.tm_mon + 1, t.tm_year + 1900,
        t.tm_hour, t.tm_min, t.tm_sec, ms);
}

void rtc2_set_alarm(uint32_t ms_from_now) {
    uint32_t current_ticks = NRF_RTC2->COUNTER;
    uint32_t ticks_offset = (ms_from_now * RTC_TICKS_PER_SEC) / 1000UL;
    uint32_t compare_value = (current_ticks + ticks_offset) & 0x00FFFFFF;
    NRF_RTC2->CC[0] = compare_value;
    rtc2_alarm_fired = false;
}

bool rtc2_alarm_triggered(void) {
    return rtc2_alarm_fired;
}
```

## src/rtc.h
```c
#ifndef RTC_H
#define RTC_H

#include <zephyr/kernel.h>
#include <stdbool.h>
#include <inttypes.h>

extern uint32_t UNIX_TIME_START;   

void rtc2_init(uint32_t unix_time);
uint64_t get_timestamp_ms(void);
void format_timestamp(uint64_t timestamp_ms, char *buffer, size_t size);
void rtc2_set_alarm(uint32_t ms_from_now);
bool rtc2_alarm_triggered(void);
void RTC2_IRQHandler(void);

#endif 
```

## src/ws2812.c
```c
#include "ws2812.h"
#include <zephyr/device.h>
#include <zephyr/drivers/led_strip.h>
#include <zephyr/kernel.h>
#include <zephyr/logging/log.h>

LOG_MODULE_REGISTER(ws2812_module, LOG_LEVEL_INF);

static const struct device *strip = DEVICE_DT_GET(STRIP_NODE);
static struct led_rgb pixel[STRIP_NUM_PIXELS];

// Make colors global so main.c can use them
const struct led_rgb RED    = { .r = 0x0f, .g = 0x00, .b = 0x00 };
const struct led_rgb GREEN  = { .r = 0x00, .g = 0x0f, .b = 0x00 };
const struct led_rgb BLUE   = { .r = 0x00, .g = 0x00, .b = 0x0f };
const struct led_rgb VIOLET = { .r = 0x0f, .g = 0x00, .b = 0x0f };
const struct led_rgb OFF    = { .r = 0x00, .g = 0x00, .b = 0x00 };

static void update_strip(void) {
    int rc = led_strip_update_rgb(strip, pixel, STRIP_NUM_PIXELS);
    if (rc) LOG_ERR("LED update failed: %d", rc);
}

void ws2812_set_color(const struct led_rgb *color) {
     printk("Setting RGB = %02x %02x %02x\n", color->r, color->g, color->b);
    pixel[0] = *color;
//     pixel[0].r = 0x00;
//    pixel[0].g = 0x00;
//    pixel[0].b = 0x00;
    update_strip();
}

void ws2812_blink_color(const struct led_rgb *color, int times) {
    for (int i = 0; i < times; i++) {
        ws2812_set_color(color);
        k_sleep(DELAY_TIME);
        ws2812_set_color(&OFF);
        k_sleep(DELAY_TIME);
    }
}

void ws2812_init(void) {
    if (!device_is_ready(strip)) {
        LOG_ERR("LED strip device not ready");
        return;
    }
    else{
        printk("------------------------------enabled led-----------------\n");
       // ws2812_blink_red();
    }
    ws2812_set_color(&OFF);
}

void ws2812_blink_red(void) { ws2812_blink_color(&RED, 10); }
void ws2812_blink_blue(void) { ws2812_blink_color(&BLUE, 10); }
void ws2812_blink_violet(void) { ws2812_blink_color(&VIOLET, 10); }
void ws2812_blink_green(void) { ws2812_blink_color(&GREEN, 10); }
```

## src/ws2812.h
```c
#pragma once
#include <zephyr/drivers/led_strip.h>


#define STRIP_NODE DT_ALIAS(led_strip)
#define STRIP_NUM_PIXELS 1
#define DELAY_TIME K_MSEC(50)

struct led_rgb;

void ws2812_init(void);
void ws2812_set_color(const struct led_rgb *color);
void ws2812_blink_color(const struct led_rgb *color, int times);

void ws2812_blink_red(void);
void ws2812_blink_blue(void);
void ws2812_blink_violet(void);
void ws2812_blink_green(void);

extern const struct led_rgb RED;
extern const struct led_rgb GREEN;
extern const struct led_rgb BLUE;
extern const struct led_rgb VIOLET;
extern const struct led_rgb OFF;
```
